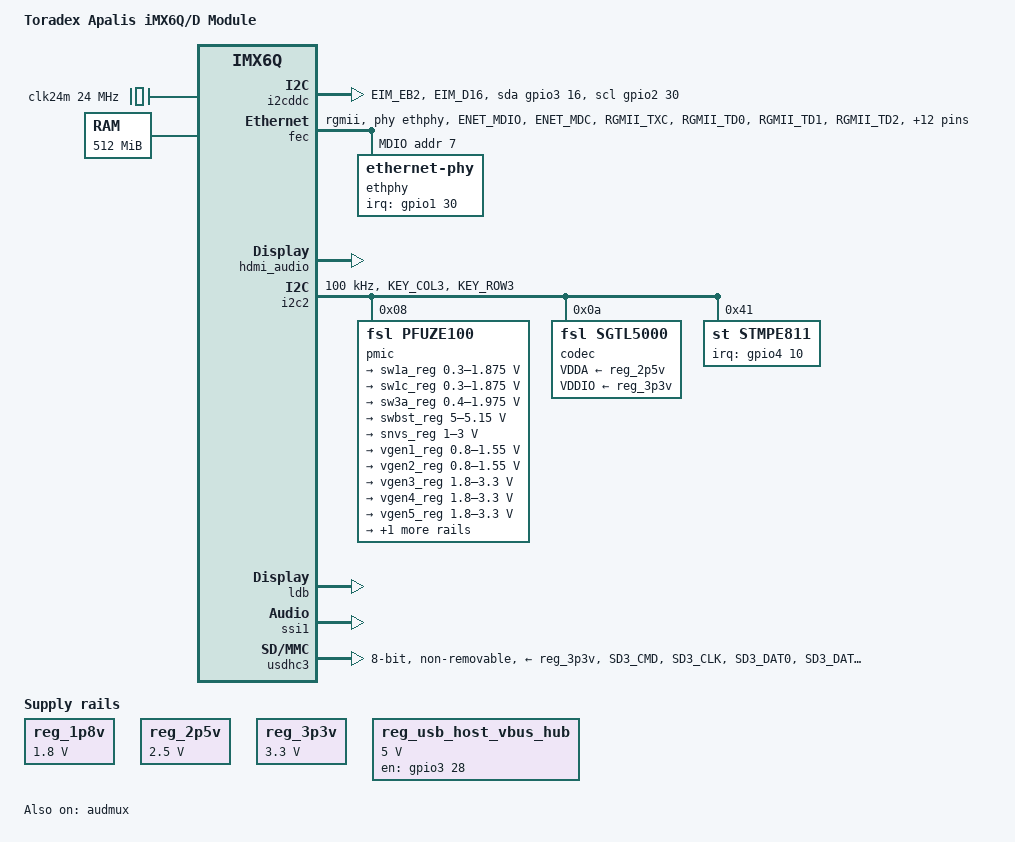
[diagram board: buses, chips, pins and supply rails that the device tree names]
/*
 * Copyright 2014-2016 Toradex AG
 * Copyright 2012 Freescale Semiconductor, Inc.
 * Copyright 2011 Linaro Ltd.
 *
 * The code contained herein is licensed under the GNU General Public
 * License. You may obtain a copy of the GNU General Public License
 * Version 2 or later at the following locations:
 *
 * http://www.opensource.org/licenses/gpl-license.html
 * http://www.gnu.org/copyleft/gpl.html
 */

/ {
	model = "Toradex Apalis iMX6Q/D Module";
	compatible = "toradex,apalis_imx6q", "fsl,imx6q";

	aliases {
		mxcfb0 = &mxcfb1;
		mxcfb1 = &mxcfb2;
		mxcfb2 = &mxcfb3;
		mxcfb3 = &mxcfb4;
	};

	backlight: backlight {
		compatible = "pwm-backlight";
		pwms = <&pwm4 0 5000000>;
		status = "disabled";
	};

	clocks {
		clk24m: clk24m {
			compatible = "fixed-clock";
			#clock-cells = <0>;
			clock-frequency = <24000000>;
		};
	};

/*
 * DDC_I2C: I2C2_SDA/SCL on MXM3 205/207
 */
	i2cddc: i2c@0 {
		compatible = "i2c-gpio";
		pinctrl-names = "default";
		pinctrl-0 = <&pinctrl_i2c_ddc>;
		gpios = <&gpio3 16 0 /* sda */
			 &gpio2 30 0 /* scl */
			>;
		i2c-gpio,delay-us = <2>;	/* ~100 kHz */
		#address-cells = <1>;
		#size-cells = <0>;
		status = "okay";
	};

	lcd: lcd@0 {
		compatible = "fsl,lcd";
		ipu_id = <0>;
		disp_id = <1>;
		default_ifmt = "RGB24";
		pinctrl-names = "default";
		pinctrl-0 = <&pinctrl_ipu1_lcdif>;
		status = "disabled";
	};

	memory {
		/*
		 * Normally, this node is rewritten by U-Boot with the actual
		 * memory size. In case not, use a safe value of 512MiB.
		 */
		reg = <0x10000000 0x20000000>;
	};

#if 0
	mxcfb1: fb@0 {
		compatible = "fsl,mxc_sdc_fb";
		disp_dev = "mipi_dsi";
		interface_pix_fmt = "RGB666";
		mode_str ="LDB-XGA";
		default_bpp = <16>;
		int_clk = <0>;
		late_init = <0>;
		status = "disabled";
#else
	mxcfb1: fb@0 {
		compatible = "fsl,mxc_sdc_fb";
		disp_dev = "ldb";
		interface_pix_fmt = "RGB666";
		default_bpp = <16>;
		int_clk = <0>;
		late_init = <0>;
		status = "disabled";
#endif
	};

	mxcfb2: fb@1 {
		compatible = "fsl,mxc_sdc_fb";
		disp_dev = "hdmi";
		interface_pix_fmt = "RGB24";
		mode_str ="1920x1080M@60";
		default_bpp = <16>;
		int_clk = <0>;
		late_init = <0>;
		status = "disabled";
	};

	mxcfb3: fb@2 {
		compatible = "fsl,mxc_sdc_fb";
		disp_dev = "lcd";
		interface_pix_fmt = "RGB565";
		mode_str ="CLAA-WVGA";
		default_bpp = <16>;
		int_clk = <0>;
		late_init = <0>;
		status = "disabled";
	};

#if 0
	mxcfb4: fb@3 {
		compatible = "fsl,mxc_sdc_fb";
		disp_dev = "ldb";
		interface_pix_fmt = "RGB666";
		mode_str ="LDB-XGA";
		default_bpp = <16>;
		int_clk = <0>;
		late_init = <0>;
		status = "disabled";
	};
#else
	mxcfb4: fb@3 {
		compatible = "fsl,mxc_sdc_fb";
		disp_dev = "vdac";
		interface_pix_fmt = "RGB565";
		mode_str ="LDB-XGA";
		default_bpp = <16>;
		int_clk = <0>;
		late_init = <0>;
		status = "disabled";
	};
#endif

	regulators {
		compatible = "simple-bus";

		reg_1p8v: 1p8v {
			compatible = "regulator-fixed";
			regulator-name = "1P8V";
			regulator-min-microvolt = <1800000>;
			regulator-max-microvolt = <1800000>;
			regulator-always-on;
		};

		reg_2p5v: 2p5v {
			compatible = "regulator-fixed";
			regulator-name = "2P5V";
			regulator-min-microvolt = <2500000>;
			regulator-max-microvolt = <2500000>;
			regulator-always-on;
		};

		reg_3p3v: 3p3v {
			compatible = "regulator-fixed";
			regulator-name = "3P3V";
			regulator-min-microvolt = <3300000>;
			regulator-max-microvolt = <3300000>;
			regulator-always-on;
		};

		reg_usb_otg_vbus: usb_otg_vbus {
			compatible = "regulator-fixed";
			pinctrl-names = "default";
			pinctrl-0 = <&pinctrl_regulator_usbotg_pwr>;
			regulator-name = "usb_otg_vbus";
			regulator-min-microvolt = <5000000>;
			regulator-max-microvolt = <5000000>;
			gpio = <&gpio3 22 0>;
			enable-active-high;
			status = "disabled";
		};

		/* on module usb hub */
		reg_usb_host_vbus_hub: usb_host_vbus_hub {
			compatible = "regulator-fixed";
			pinctrl-names = "default";
			pinctrl-0 = <&pinctrl_regulator_usbhub_pwr>;
			regulator-name = "usb_host_vbus_hub";
			regulator-min-microvolt = <5000000>;
			regulator-max-microvolt = <5000000>;
			gpio = <&gpio3 28 0>;
			startup-delay-us = <2000>;
			enable-active-high;
			status = "okay";
		};

		reg_usb_host_vbus: usb_host_vbus {
			compatible = "regulator-fixed";
			pinctrl-names = "default";
			pinctrl-0 = <&pinctrl_regulator_usbh_pwr>;
			regulator-name = "usb_host_vbus";
			regulator-min-microvolt = <5000000>;
			regulator-max-microvolt = <5000000>;
			gpio =  <&gpio1 0 0>;
			enable-active-high;
			vin-supply = <&reg_usb_host_vbus_hub>;
			status = "disabled";
		};
	};

	sound {
		compatible = "fsl,imx6q-apalis-sgtl5000",
			     "fsl,imx-audio-sgtl5000";
		model = "imx6q-apalis-sgtl5000";
		cpu-dai = <&ssi1>;
		audio-codec = <&codec>;
		audio-routing =
			"LINE_IN", "Line In Jack",
			"MIC_IN", "Mic Jack",
			"Mic Jack", "Mic Bias",
			"Headphone Jack", "HP_OUT";
		mux-int-port = <1>;
		mux-ext-port = <4>;
	};

	sound_hdmi: sound-hdmi {
		compatible = "fsl,imx6q-audio-hdmi",
			     "fsl,imx-audio-hdmi";
		model = "imx-audio-hdmi";
		hdmi-controller = <&hdmi_audio>;
		status = "disabled";
	};

	sound_spdif: sound-spdif {
		compatible = "fsl,imx-audio-spdif";
		model = "imx-spdif";
		spdif-controller = <&spdif>;
		spdif-out;
		spdif-in;
		status = "disabled";
	};

	vdac: vdac@0 {
		compatible = "fsl,vdac";
		ipu_id = <1>;
		disp_id = <0>;
		default_ifmt = "RGB565";
		pinctrl-names = "default";
		pinctrl-0 = <&pinctrl_ipu2_vdac>;
		status = "disabled";
	};

	v4l2_out {
		compatible = "fsl,mxc_v4l2_output";
		status = "okay";
	};
};

&audmux {
	pinctrl-names = "default";
	pinctrl-0 = <&pinctrl_audmux &pinctrl_audmux_mclk>;
	status = "okay";
};

/* Apalis SPI1 */
&ecspi1 {
	fsl,spi-num-chipselects = <1>;
	cs-gpios = <&gpio5 25 0>;
	pinctrl-names = "default";
	pinctrl-0 = <&pinctrl_ecspi1 &pinctrl_spi_cs1>;
	status = "disabled";
};

/* Apalis SPI2 */
&ecspi2 {
	fsl,spi-num-chipselects = <1>;
	cs-gpios = <&gpio2 26 0>;
	pinctrl-names = "default";
	pinctrl-0 = <&pinctrl_ecspi2 &pinctrl_spi_cs2>;
	status = "disabled";
};

&fec {
	pinctrl-names = "default";
	pinctrl-0 = <&pinctrl_enet &pinctrl_enet_ctrl>;
	phy-mode = "rgmii";
	phy-handle = <&ethphy>;
	phy-reset-duration = <10>;
	phy-reset-gpios = <&gpio1 25 1>;
	status = "okay";

	mdio {
		#address-cells = <1>;
		#size-cells = <0>;

		ethphy: ethernet-phy@7 {
			interrupt-parent = <&gpio1>;
			interrupts = <30 IRQ_TYPE_LEVEL_LOW>;
			reg = <7>;
		};
	};
};

&can1 {
	pinctrl-names = "default";
	pinctrl-0 = <&pinctrl_flexcan1>;
	status = "disabled";
};

&can2 {
	pinctrl-names = "default";
	pinctrl-0 = <&pinctrl_flexcan2>;
	status = "disabled";
};

&hdmi_audio {
	status = "okay";
};

&hdmi_cec {
	pinctrl-names = "default";
	pinctrl-0 = <&pinctrl_hdmi_cec>;
	status = "disabled";
};

&hdmi_core {
	ipu_id = <0>;
	disp_id = <0>;
	status = "disabled";
};

&hdmi_video {
	fsl,phy_reg_vlev = <0x0294>;
	fsl,phy_reg_cksymtx = <0x800d>;
	status = "disabled";
};

/*
 * GEN1_I2C: I2C1_SDA/SCL on MXM3 209/211 (e.g. RTC on carrier
 * board)
 */
&i2c1 {
	clock-frequency = <100000>;
	pinctrl-names = "default";
	pinctrl-0 = <&pinctrl_i2c1>;
	status = "disabled";
};

&i2c2 {
	clock-frequency = <100000>;
	pinctrl-names = "default";
	pinctrl-0 = <&pinctrl_i2c2>;
	status = "okay";

	pmic: pfuze100@08 {
		compatible = "fsl,pfuze100";
		reg = <0x08>;

		regulators {
			sw1a_reg: sw1ab {
				regulator-min-microvolt = <300000>;
				regulator-max-microvolt = <1875000>;
				regulator-boot-on;
				regulator-always-on;
				regulator-ramp-delay = <6250>;
			};

			sw1c_reg: sw1c {
				regulator-min-microvolt = <300000>;
				regulator-max-microvolt = <1875000>;
				regulator-boot-on;
				regulator-always-on;
				regulator-ramp-delay = <6250>;
			};

			sw3a_reg: sw3a {
				regulator-min-microvolt = <400000>;
				regulator-max-microvolt = <1975000>;
				regulator-boot-on;
				regulator-always-on;
			};

			swbst_reg: swbst {
				regulator-min-microvolt = <5000000>;
				regulator-max-microvolt = <5150000>;
				regulator-boot-on;
				regulator-always-on;
			};

			snvs_reg: vsnvs {
				regulator-min-microvolt = <1000000>;
				regulator-max-microvolt = <3000000>;
				regulator-boot-on;
				regulator-always-on;
			};

			vref_reg: vrefddr {
				regulator-boot-on;
				regulator-always-on;
			};

			vgen1_reg: vgen1 {
				regulator-min-microvolt = <800000>;
				regulator-max-microvolt = <1550000>;
				regulator-boot-on;
				regulator-always-on;
			};

			vgen2_reg: vgen2 {
				regulator-min-microvolt = <800000>;
				regulator-max-microvolt = <1550000>;
				regulator-boot-on;
				regulator-always-on;
			};

			vgen3_reg: vgen3 {
				regulator-min-microvolt = <1800000>;
				regulator-max-microvolt = <3300000>;
				regulator-boot-on;
				regulator-always-on;
			};

			vgen4_reg: vgen4 {
				regulator-min-microvolt = <1800000>;
				regulator-max-microvolt = <3300000>;
				regulator-boot-on;
				regulator-always-on;
			};

			vgen5_reg: vgen5 {
				regulator-min-microvolt = <1800000>;
				regulator-max-microvolt = <3300000>;
				regulator-boot-on;
				regulator-always-on;
			};

			vgen6_reg: vgen6 {
				regulator-min-microvolt = <1800000>;
				regulator-max-microvolt = <3300000>;
				regulator-boot-on;
				regulator-always-on;
			};
		};
	};

	codec: sgtl5000@0a {
		compatible = "fsl,sgtl5000";
		reg = <0x0a>;
		clocks = <&clks 201>;
		VDDA-supply = <&reg_2p5v>;
		VDDIO-supply = <&reg_3p3v>;
	};

	/* STMPE811 touch screen controller */
	stmpe811@41 {
		compatible = "st,stmpe811";
		pinctrl-names = "default";
		pinctrl-0 = <&pinctrl_touch_int>;
		#address-cells = <1>;
		#size-cells = <0>;
		reg = <0x41>;
		interrupts = <10 IRQ_TYPE_LEVEL_LOW>;
		interrupt-parent = <&gpio4>;
		interrupt-controller;
		id = <0>;
		blocks = <0x5>;
		irq-trigger = <0x1>;
		stmpe_touchscreen {
			compatible = "st,stmpe-ts";
			reg = <0>;
			/* 3.25 MHz ADC clock speed */
			st,adc-freq = <1>;
			/* 8 sample average control */
			st,ave-ctrl = <3>;
			/* 7 length fractional part in z */
			st,fraction-z = <7>;
			/*
			 * 50 mA typical 80 mA max touchscreen drivers
			 * current limit value
			 */
			st,i-drive = <1>;
			/* 12-bit ADC */
			st,mod-12b = <1>;
			/* internal ADC reference */
			st,ref-sel = <0>;
			/* ADC converstion time: 80 clocks */
			st,sample-time = <4>;
			/* 1 ms panel driver settling time */
			st,settling = <3>;
			/* 5 ms touch detect interrupt delay */
			st,touch-det-delay = <5>;
		};
		stmpe_adc {
			compatible = "st,stmpe-adc";
			/* 3.25 MHz ADC clock speed */
			st,adc-freq = <1>;
			/* 12-bit ADC */
			st,mod-12b = <1>;
			/* internal ADC reference */
			st,ref-sel = <0>;
			/* ADC converstion time: 80 clocks */
			st,sample-time = <4>;
		};
	};
};

/*
 * GEN2_I2C, CAM: I2C3_SDA/SCL on MXM3 201/203 (unused)
 */
&i2c3 {
	clock-frequency = <100000>;
	pinctrl-names = "default", "recovery";
	pinctrl-0 = <&pinctrl_i2c3>;
	pinctrl-1 = <&pinctrl_i2c3_recovery>;
	gpios = <&gpio3 18 0 /* sda */
	         &gpio3 17 0 /* scl */
	        >;
	status = "disabled";
};

/* PAD Ctrl Values for Common Settings */
#define PAD_CTRL_HYS_PU 0x1b0b0 /*(PAD_CTL_HYS | PAD_CTL_PUS_100K_UP | PAD_CTL_PUE | PAD_CTL_PKE | PAD_CTL_SPEED_MED | PAD_CTL_DSE_40ohm)*/
#define PAD_CTRL_HYS_PD 0x130b0 /*(PAD_CTL_HYS | PAD_CTL_PUE | PAD_CTL_PKE | PAD_CTL_SPEED_MED | PAD_CTL_DSE_40ohm)*/
#define PAD_CTRL_PU_22k 0x0f058 /*(PAD_CTL_PUS_22K_UP | PAD_CTL_PUE | PAD_CTL_PKE | PAD_CTL_SPEED_LOW | PAD_CTL_DSE_80ohm)*/
#define PAD_CTRL_NO 0x80000000

&iomuxc {
	ecspi {
		pinctrl_ecspi1: ecspi1grp {
			fsl,pins = <
				MX6QDL_PAD_CSI0_DAT6__ECSPI1_MISO 0x100b1
				MX6QDL_PAD_CSI0_DAT5__ECSPI1_MOSI 0x100b1
				MX6QDL_PAD_CSI0_DAT4__ECSPI1_SCLK 0x100b1
			>;
		};
		pinctrl_ecspi2: ecspi2grp {
			fsl,pins = <
				MX6QDL_PAD_EIM_OE__ECSPI2_MISO 0x100b1
				MX6QDL_PAD_EIM_CS1__ECSPI2_MOSI 0x100b1
				MX6QDL_PAD_EIM_CS0__ECSPI2_SCLK 0x100b1
			>;
		};
		pinctrl_spi_cs1: spi_cs1 {
			fsl,pins = <
				MX6QDL_PAD_CSI0_DAT7__GPIO5_IO25	PAD_CTRL_NO	/* SPI1 cs */
				>;
		};
		pinctrl_spi_cs2: spi_cs2 {
			fsl,pins = <
				MX6QDL_PAD_EIM_RW__GPIO2_IO26		PAD_CTRL_NO	/* SPI2 cs */
				>;
		};
	};

	flexcan {
		pinctrl_flexcan1: flexcan1grp {
			fsl,pins = <
				MX6QDL_PAD_GPIO_7__FLEXCAN1_TX   0x80000000
				MX6QDL_PAD_GPIO_8__FLEXCAN1_RX   0x80000000
			>;
		};
		pinctrl_flexcan2: flexcan2grp {
			fsl,pins = <
				MX6QDL_PAD_KEY_COL4__FLEXCAN2_TX 0x80000000
				MX6QDL_PAD_KEY_ROW4__FLEXCAN2_RX 0x80000000
			>;
		};
	};

	gpio {
		pinctrl_apalis_gpio1: apalis_gpio1 {
			fsl,pins = <
				/* Apalis GPIO */
				MX6QDL_PAD_NANDF_D4__GPIO2_IO04		PAD_CTRL_HYS_PD	/* Apalis GPIO1 */
			>;
		};
		pinctrl_apalis_gpio2: apalis_gpio2 {
			fsl,pins = <
				MX6QDL_PAD_NANDF_D5__GPIO2_IO05		PAD_CTRL_HYS_PD	/* Apalis GPIO2 */
			>;
		};
		pinctrl_apalis_gpio3: apalis_gpio3 {
			fsl,pins = <
				MX6QDL_PAD_NANDF_D6__GPIO2_IO06		PAD_CTRL_HYS_PD	/* Apalis GPIO3 */
			>;
		};
		pinctrl_apalis_gpio4: apalis_gpio4 {
			fsl,pins = <
				MX6QDL_PAD_NANDF_D7__GPIO2_IO07		PAD_CTRL_HYS_PD	/* Apalis GPIO4 */
			>;
		};
		pinctrl_apalis_gpio5: apalis_gpio5 {
			fsl,pins = <
				MX6QDL_PAD_NANDF_RB0__GPIO6_IO10	PAD_CTRL_HYS_PD	/* Apalis GPIO5 */
			>;
		};
		pinctrl_apalis_gpio6: apalis_gpio6 {
			fsl,pins = <
				MX6QDL_PAD_NANDF_WP_B__GPIO6_IO09	PAD_CTRL_HYS_PD	/* Apalis GPIO6 */
			>;
		};
		pinctrl_apalis_gpio7: apalis_gpio7 {
			fsl,pins = <
				MX6QDL_PAD_GPIO_2__GPIO1_IO02		PAD_CTRL_HYS_PD	/* Apalis GPIO7 */
			>;
		};
		pinctrl_apalis_gpio8: apalis_gpio8 {
			fsl,pins = <
				MX6QDL_PAD_GPIO_6__GPIO1_IO06		PAD_CTRL_HYS_PD	/* Apalis GPIO8 */
			>;
		};
		pinctrl_gpio_keys: gpio_keys {
			fsl,pins = <
				MX6QDL_PAD_GPIO_4__GPIO1_IO04		PAD_CTRL_HYS_PU	/* Power Button */
				>;
		};
	};

	hdmi {
		pinctrl_hdmi_cec: hdmicecgrp {
			fsl,pins = <
				MX6QDL_PAD_KEY_ROW2__HDMI_TX_CEC_LINE 0x1f8b0
			>;
		};
	};

	i2c {
		pinctrl_i2c_ddc: i2c_ddc {
			fsl,pins = <
				MX6QDL_PAD_EIM_EB2__GPIO2_IO30		PAD_CTRL_HYS_PU	/* DDC bitbang */
				MX6QDL_PAD_EIM_D16__GPIO3_IO16		PAD_CTRL_HYS_PU	/* DDC bitbang */
				>;
		};
		pinctrl_i2c1: i2c1grp {
			fsl,pins = <
				MX6QDL_PAD_CSI0_DAT8__I2C1_SDA 0x4001b8b1
				MX6QDL_PAD_CSI0_DAT9__I2C1_SCL 0x4001b8b1
			>;
		};
		pinctrl_i2c3: i2c3grp {
			fsl,pins = <
				MX6QDL_PAD_EIM_D17__I2C3_SCL 0x4001b8b1
				MX6QDL_PAD_EIM_D18__I2C3_SDA 0x4001b8b1
			>;
		};
		pinctrl_i2c3_recovery: i2c3-recoverygrp {
			fsl,pins = <
				MX6QDL_PAD_EIM_D17__GPIO3_IO17 0x4001b8b1
				MX6QDL_PAD_EIM_D18__GPIO3_IO18 0x4001b8b1
			>;
		};
	};

	/* pins used on module */
	imx6q-apalis {
		pinctrl-names = "default";
		pinctrl-0 = <&pinctrl_reset_moci &pinctrl_emmc_reset>;
		pinctrl_audmux: audmuxgrp {
			fsl,pins = <
				MX6QDL_PAD_DISP0_DAT20__AUD4_TXC  0x130b0
				MX6QDL_PAD_DISP0_DAT21__AUD4_TXD  0x130b0
				MX6QDL_PAD_DISP0_DAT22__AUD4_TXFS 0x130b0
				MX6QDL_PAD_DISP0_DAT23__AUD4_RXD  0x130b0
			>;
		};
		pinctrl_audmux_mclk: audmux_mclk {
			fsl,pins = <
				MX6QDL_PAD_GPIO_5__CCM_CLKO1		0x000b0		/* SGTL5000 sys_mclk */
			>;
		};
		pinctrl_emmc_reset: emmc_reset {
			fsl,pins = <
				MX6QDL_PAD_SD3_RST__GPIO7_IO08		PAD_CTRL_PU_22k	/* eMMC reset, leave it alone */
			>;
		};
		pinctrl_enet: enetgrp {
			fsl,pins = <
				MX6QDL_PAD_ENET_MDIO__ENET_MDIO       0x1b0b0
				MX6QDL_PAD_ENET_MDC__ENET_MDC         0x1b0b0
				MX6QDL_PAD_RGMII_TXC__RGMII_TXC       0x1b0b0
				MX6QDL_PAD_RGMII_TD0__RGMII_TD0       0x1b0b0
				MX6QDL_PAD_RGMII_TD1__RGMII_TD1       0x1b0b0
				MX6QDL_PAD_RGMII_TD2__RGMII_TD2       0x1b0b0
				MX6QDL_PAD_RGMII_TD3__RGMII_TD3       0x1b0b0
				MX6QDL_PAD_RGMII_TX_CTL__RGMII_TX_CTL 0x1b0b0
				MX6QDL_PAD_ENET_REF_CLK__ENET_TX_CLK  0x1b0b0
				MX6QDL_PAD_RGMII_RXC__RGMII_RXC       0x1b0b0
				MX6QDL_PAD_RGMII_RD0__RGMII_RD0       0x1b0b0
				MX6QDL_PAD_RGMII_RD1__RGMII_RD1       0x1b0b0
				MX6QDL_PAD_RGMII_RD2__RGMII_RD2       0x1b0b0
				MX6QDL_PAD_RGMII_RD3__RGMII_RD3       0x1b0b0
				MX6QDL_PAD_RGMII_RX_CTL__RGMII_RX_CTL 0x1b0b0
			>;
		};
		pinctrl_enet_ctrl: enet_ctrlgrp {
			fsl,pins = <
				MX6QDL_PAD_ENET_CRS_DV__GPIO1_IO25	PAD_CTRL_NO	/* ENET phy reset */
				MX6QDL_PAD_ENET_TXD0__GPIO1_IO30	PAD_CTRL_HYS_PU	/* ENET phy interrupt */
			>;
		};
		pinctrl_i2c2: i2c2grp {
			fsl,pins = <
				MX6QDL_PAD_KEY_COL3__I2C2_SCL 0x4001b8b1
				MX6QDL_PAD_KEY_ROW3__I2C2_SDA 0x4001b8b1
			>;
		};
		pinctrl_ipu2_vdac: ipu2vdacgrp {
			fsl,pins = <
				MX6QDL_PAD_DI0_DISP_CLK__IPU2_DI0_DISP_CLK 0xD1
				MX6QDL_PAD_DI0_PIN15__IPU2_DI0_PIN15       0xD1
				MX6QDL_PAD_DI0_PIN2__IPU2_DI0_PIN02        0xD1
				MX6QDL_PAD_DI0_PIN3__IPU2_DI0_PIN03        0xD1
				MX6QDL_PAD_DISP0_DAT0__IPU2_DISP0_DATA00   0xF9
				MX6QDL_PAD_DISP0_DAT1__IPU2_DISP0_DATA01   0xF9
				MX6QDL_PAD_DISP0_DAT2__IPU2_DISP0_DATA02   0xF9
				MX6QDL_PAD_DISP0_DAT3__IPU2_DISP0_DATA03   0xF9
				MX6QDL_PAD_DISP0_DAT4__IPU2_DISP0_DATA04   0xF9
				MX6QDL_PAD_DISP0_DAT5__IPU2_DISP0_DATA05   0xF9
				MX6QDL_PAD_DISP0_DAT6__IPU2_DISP0_DATA06   0xF9
				MX6QDL_PAD_DISP0_DAT7__IPU2_DISP0_DATA07   0xF9
				MX6QDL_PAD_DISP0_DAT8__IPU2_DISP0_DATA08   0xF9
				MX6QDL_PAD_DISP0_DAT9__IPU2_DISP0_DATA09   0xF9
				MX6QDL_PAD_DISP0_DAT10__IPU2_DISP0_DATA10  0xF9
				MX6QDL_PAD_DISP0_DAT11__IPU2_DISP0_DATA11  0xF9
				MX6QDL_PAD_DISP0_DAT12__IPU2_DISP0_DATA12  0xF9
				MX6QDL_PAD_DISP0_DAT13__IPU2_DISP0_DATA13  0xF9
				MX6QDL_PAD_DISP0_DAT14__IPU2_DISP0_DATA14  0xF9
				MX6QDL_PAD_DISP0_DAT15__IPU2_DISP0_DATA15  0xF9
			>;
		};
		pinctrl_regulator_usbhub_pwr: gpio_regulator_usbhub_pwr {
			fsl,pins = <
				MX6QDL_PAD_EIM_D28__GPIO3_IO28		PAD_CTRL_PU_22k	/* USBH_HUB_EN */
				>;
		};
		pinctrl_reset_moci: gpio_reset_moci {
			fsl,pins = <
				MX6QDL_PAD_ENET_TX_EN__GPIO1_IO28	PAD_CTRL_PU_22k	/* RESET_MOCI control */
				>;
		};
		pinctrl_touch_int: touch_intgrp {
			fsl,pins = <
				MX6QDL_PAD_KEY_COL2__GPIO4_IO10		PAD_CTRL_HYS_PU /* STMPE811 interrupt */
			>;
		};
		pinctrl_usdhc3: usdhc3grp {
			fsl,pins = <
				MX6QDL_PAD_SD3_CMD__SD3_CMD    0x17059
				MX6QDL_PAD_SD3_CLK__SD3_CLK    0x10059
				MX6QDL_PAD_SD3_DAT0__SD3_DATA0 0x17059
				MX6QDL_PAD_SD3_DAT1__SD3_DATA1 0x17059
				MX6QDL_PAD_SD3_DAT2__SD3_DATA2 0x17059
				MX6QDL_PAD_SD3_DAT3__SD3_DATA3 0x17059
				MX6QDL_PAD_SD3_DAT4__SD3_DATA4 0x17059
				MX6QDL_PAD_SD3_DAT5__SD3_DATA5 0x17059
				MX6QDL_PAD_SD3_DAT6__SD3_DATA6 0x17059
				MX6QDL_PAD_SD3_DAT7__SD3_DATA7 0x17059
			>;
		};
		pinctrl_usdhc3_100mhz: usdhc3grp-100mhz { /* 100Mhz */
			fsl,pins = <
				MX6QDL_PAD_SD3_CMD__SD3_CMD 0x170B9
				MX6QDL_PAD_SD3_CLK__SD3_CLK 0x100B9
				MX6QDL_PAD_SD3_DAT0__SD3_DATA0 0x170B9
				MX6QDL_PAD_SD3_DAT1__SD3_DATA1 0x170B9
				MX6QDL_PAD_SD3_DAT2__SD3_DATA2 0x170B9
				MX6QDL_PAD_SD3_DAT3__SD3_DATA3 0x170B9
				MX6QDL_PAD_SD3_DAT4__SD3_DATA4 0x170B9
				MX6QDL_PAD_SD3_DAT5__SD3_DATA5 0x170B9
				MX6QDL_PAD_SD3_DAT6__SD3_DATA6 0x170B9
				MX6QDL_PAD_SD3_DAT7__SD3_DATA7 0x170B9
			>;
		};
		pinctrl_usdhc3_200mhz: usdhc3grp-200mhz { /* 200Mhz */
			fsl,pins = <
				MX6QDL_PAD_SD3_CMD__SD3_CMD 0x170F9
				MX6QDL_PAD_SD3_CLK__SD3_CLK 0x100F9
				MX6QDL_PAD_SD3_DAT0__SD3_DATA0 0x170F9
				MX6QDL_PAD_SD3_DAT1__SD3_DATA1 0x170F9
				MX6QDL_PAD_SD3_DAT2__SD3_DATA2 0x170F9
				MX6QDL_PAD_SD3_DAT3__SD3_DATA3 0x170F9
				MX6QDL_PAD_SD3_DAT4__SD3_DATA4 0x170F9
				MX6QDL_PAD_SD3_DAT5__SD3_DATA5 0x170F9
				MX6QDL_PAD_SD3_DAT6__SD3_DATA6 0x170F9
				MX6QDL_PAD_SD3_DAT7__SD3_DATA7 0x170F9
			>;
		};
	};

	ipu1 {
		pinctrl_ipu1_lcdif: ipu1lcdifgrp {
			fsl,pins = <
				MX6QDL_PAD_EIM_A16__IPU1_DI1_DISP_CLK	0x61
				MX6QDL_PAD_EIM_DA10__IPU1_DI1_PIN15	0x61                /* DE */
				MX6QDL_PAD_EIM_DA11__IPU1_DI1_PIN02	0x61                /* HSync */
				MX6QDL_PAD_EIM_DA12__IPU1_DI1_PIN03	0x61                /* VSync */
				MX6QDL_PAD_EIM_DA9__IPU1_DISP1_DATA00	0x61
				MX6QDL_PAD_EIM_DA8__IPU1_DISP1_DATA01	0x61
				MX6QDL_PAD_EIM_DA7__IPU1_DISP1_DATA02	0x61
				MX6QDL_PAD_EIM_DA6__IPU1_DISP1_DATA03	0x61
				MX6QDL_PAD_EIM_DA5__IPU1_DISP1_DATA04	0x61
				MX6QDL_PAD_EIM_DA4__IPU1_DISP1_DATA05	0x61
				MX6QDL_PAD_EIM_DA3__IPU1_DISP1_DATA06	0x61
				MX6QDL_PAD_EIM_DA2__IPU1_DISP1_DATA07	0x61
				MX6QDL_PAD_EIM_DA1__IPU1_DISP1_DATA08	0x61
				MX6QDL_PAD_EIM_DA0__IPU1_DISP1_DATA09	0x61
				MX6QDL_PAD_EIM_EB1__IPU1_DISP1_DATA10	0x61
				MX6QDL_PAD_EIM_EB0__IPU1_DISP1_DATA11	0x61
				MX6QDL_PAD_EIM_A17__IPU1_DISP1_DATA12	0x61
				MX6QDL_PAD_EIM_A18__IPU1_DISP1_DATA13	0x61
				MX6QDL_PAD_EIM_A19__IPU1_DISP1_DATA14	0x61
				MX6QDL_PAD_EIM_A20__IPU1_DISP1_DATA15	0x61
				MX6QDL_PAD_EIM_A21__IPU1_DISP1_DATA16	0x61
				MX6QDL_PAD_EIM_A22__IPU1_DISP1_DATA17	0x61
				MX6QDL_PAD_EIM_A23__IPU1_DISP1_DATA18	0x61
				MX6QDL_PAD_EIM_A24__IPU1_DISP1_DATA19	0x61
				MX6QDL_PAD_EIM_D31__IPU1_DISP1_DATA20	0x61
				MX6QDL_PAD_EIM_D30__IPU1_DISP1_DATA21	0x61
				MX6QDL_PAD_EIM_D26__IPU1_DISP1_DATA22	0x61
				MX6QDL_PAD_EIM_D27__IPU1_DISP1_DATA23	0x61
			>;
		};
		pinctrl_cam_mclk: cam_mclk {
			fsl,pins = <
				MX6QDL_PAD_NANDF_CS2__CCM_CLKO2		0x00b0		/* CAM sys_mclk */
			>;
		};
		pinctrl_ipu1_csi0: ipu1csi0grp { /* parallel camera */
			fsl,pins = <
				MX6QDL_PAD_CSI0_DAT12__IPU1_CSI0_DATA12    0xb0b1
				MX6QDL_PAD_CSI0_DAT13__IPU1_CSI0_DATA13    0xb0b1
				MX6QDL_PAD_CSI0_DAT14__IPU1_CSI0_DATA14    0xb0b1
				MX6QDL_PAD_CSI0_DAT15__IPU1_CSI0_DATA15    0xb0b1
				MX6QDL_PAD_CSI0_DAT16__IPU1_CSI0_DATA16    0xb0b1
				MX6QDL_PAD_CSI0_DAT17__IPU1_CSI0_DATA17    0xb0b1
				MX6QDL_PAD_CSI0_DAT18__IPU1_CSI0_DATA18    0xb0b1
				MX6QDL_PAD_CSI0_DAT19__IPU1_CSI0_DATA19    0xb0b1
				MX6QDL_PAD_CSI0_PIXCLK__IPU1_CSI0_PIXCLK   0xb0b1
				MX6QDL_PAD_CSI0_MCLK__IPU1_CSI0_HSYNC      0xb0b1
				MX6QDL_PAD_CSI0_VSYNC__IPU1_CSI0_VSYNC     0xb0b1
			>;
		};
	};

	pwm {
		pinctrl_pwm1: pwm1grp {
			fsl,pins = <
				MX6QDL_PAD_GPIO_9__PWM1_OUT 0x1b0b1
			>;
		};
		pinctrl_pwm2: pwm2grp {
			fsl,pins = <
				MX6QDL_PAD_GPIO_1__PWM2_OUT 0x1b0b1
			>;
		};
		pinctrl_pwm3: pwm3grp {
			fsl,pins = <
				MX6QDL_PAD_SD4_DAT1__PWM3_OUT 0x1b0b1
			>;
		};
		pinctrl_pwm4: pwm4grp {
			fsl,pins = <
				MX6QDL_PAD_SD4_DAT2__PWM4_OUT 0x1b0b1
			>;
		};
	};

	spdif {
		pinctrl_spdif: spdifgrp {
			fsl,pins = <
				MX6QDL_PAD_GPIO_16__SPDIF_IN  0x1b0b0
				MX6QDL_PAD_GPIO_17__SPDIF_OUT 0x1b0b0
			>;
		};
	};

	uart1 {
		pinctrl_uart1_dce: uart1-dcegrp {
			fsl,pins = <
				MX6QDL_PAD_CSI0_DAT10__UART1_TX_DATA 0x1b0b1
				MX6QDL_PAD_CSI0_DAT11__UART1_RX_DATA 0x1b0b1
			>;
		};
		pinctrl_uart1_dte: uart1-dtegrp { /* DTE mode */
			fsl,pins = <
				MX6QDL_PAD_CSI0_DAT10__UART1_RX_DATA 0x1b0b1
				MX6QDL_PAD_CSI0_DAT11__UART1_TX_DATA 0x1b0b1
				MX6QDL_PAD_EIM_D19__UART1_RTS_B 0x1b0b1
				MX6QDL_PAD_EIM_D20__UART1_CTS_B 0x1b0b1
			>;
		};
		pinctrl_uart1_ctrl: uart1-ctrlgrp { /* Additional DTR, DSR, DCD */
			fsl,pins = <
				MX6QDL_PAD_EIM_D23__UART1_DCD_B 0x1b0b0
				MX6QDL_PAD_EIM_D24__UART1_DTR_B 0x1b0b0
				MX6QDL_PAD_EIM_D25__UART1_DSR_B 0x1b0b0
			>;
		};
	};

	uart2 {
		pinctrl_uart2_dce: uart2-dcegrp {
			fsl,pins = <
				MX6QDL_PAD_SD4_DAT4__UART2_RX_DATA   0x1b0b1
				MX6QDL_PAD_SD4_DAT7__UART2_TX_DATA   0x1b0b1
			>;
		};
		pinctrl_uart2_dte: uart2grp-dte { /* DTE mode */
			fsl,pins = <
				MX6QDL_PAD_SD4_DAT4__UART2_TX_DATA   0x1b0b1
				MX6QDL_PAD_SD4_DAT7__UART2_RX_DATA   0x1b0b1
				MX6QDL_PAD_SD4_DAT6__UART2_RTS_B 0x1b0b1
				MX6QDL_PAD_SD4_DAT5__UART2_CTS_B 0x1b0b1
			>;
		};
	};

	uart4 {
		pinctrl_uart4_dce: uart4-dcegrp {
			fsl,pins = <
				MX6QDL_PAD_KEY_COL0__UART4_TX_DATA 0x1b0b1
				MX6QDL_PAD_KEY_ROW0__UART4_RX_DATA 0x1b0b1
			>;
		};
		pinctrl_uart4_dte: uart4-dtegrp { /* DTE mode */
			fsl,pins = <
				MX6QDL_PAD_KEY_COL0__UART4_RX_DATA 0x1b0b1
				MX6QDL_PAD_KEY_ROW0__UART4_TX_DATA 0x1b0b1
			>;
		};
	};

	uart5 {
		pinctrl_uart5_dce: uart5-dcegrp {
			fsl,pins = <
				MX6QDL_PAD_KEY_COL1__UART5_TX_DATA 0x1b0b1
				MX6QDL_PAD_KEY_ROW1__UART5_RX_DATA 0x1b0b1
			>;
		};
		pinctrl_uart5_dte: uart5-dtegrp { /* DTE mode */
			fsl,pins = <
				MX6QDL_PAD_KEY_COL1__UART5_RX_DATA 0x1b0b1
				MX6QDL_PAD_KEY_ROW1__UART5_TX_DATA 0x1b0b1
			>;
		};
	};

	usbh {
		pinctrl_regulator_usbh_pwr: gpio_regulator_usbh_pwr {
			fsl,pins = <
				MX6QDL_PAD_GPIO_0__GPIO1_IO00		PAD_CTRL_PU_22k	/* USBH_EN */
				>;
		};
	};

	usbotg {
		pinctrl_usbotg: usbotggrp {
			fsl,pins = <
				MX6QDL_PAD_ENET_RX_ER__USB_OTG_ID 0x17059
			>;
		};
		pinctrl_regulator_usbotg_pwr: gpio_regulator_usbotg_pwr {
			fsl,pins = <
				MX6QDL_PAD_EIM_D22__GPIO3_IO22		PAD_CTRL_PU_22k	/* USBO power en */
				>;
		};
	};

	usdhc {
		pinctrl_mmc_cd: gpio_mmc_cd {
			fsl,pins = <
				MX6QDL_PAD_DI0_PIN4__GPIO4_IO20		PAD_CTRL_NO	/* MMC1 CD */
				>;
		};
		pinctrl_sd_cd: gpio_sd_cd {
			fsl,pins = <
				MX6QDL_PAD_NANDF_CS1__GPIO6_IO14	PAD_CTRL_NO	/* SD1 CD */
				>;
		};
		pinctrl_usdhc1: usdhc1grp {
			fsl,pins = <
				MX6QDL_PAD_SD1_CMD__SD1_CMD    0x17071
				MX6QDL_PAD_SD1_CLK__SD1_CLK    0x10071
				MX6QDL_PAD_SD1_DAT0__SD1_DATA0 0x17071
				MX6QDL_PAD_SD1_DAT1__SD1_DATA1 0x17071
				MX6QDL_PAD_SD1_DAT2__SD1_DATA2 0x17071
				MX6QDL_PAD_SD1_DAT3__SD1_DATA3 0x17071
				MX6QDL_PAD_NANDF_D0__SD1_DATA4 0x17071
				MX6QDL_PAD_NANDF_D1__SD1_DATA5 0x17071
				MX6QDL_PAD_NANDF_D2__SD1_DATA6 0x17071
				MX6QDL_PAD_NANDF_D3__SD1_DATA7 0x17071
			>;
		};
		pinctrl_usdhc2: usdhc2grp {
			fsl,pins = <
				MX6QDL_PAD_SD2_CMD__SD2_CMD    0x17071
				MX6QDL_PAD_SD2_CLK__SD2_CLK    0x10071
				MX6QDL_PAD_SD2_DAT0__SD2_DATA0 0x17071
				MX6QDL_PAD_SD2_DAT1__SD2_DATA1 0x17071
				MX6QDL_PAD_SD2_DAT2__SD2_DATA2 0x17071
				MX6QDL_PAD_SD2_DAT3__SD2_DATA3 0x17071
			>;
		};
	};
};

&ldb {
	status = "okay";
//	split-mode;
//	dual-mode;

	lvds-channel@0 {
		reg = <0>;
		fsl,data-mapping = "spwg"; /* "jeida"; */
		fsl,data-width = <18>;
		crtc = "ipu2-di1";
		primary;
		status = "okay";

		display-timings {
			native-mode = <&timing_xga>;
			/* LDB-AM-800600LTNQW-A0H */
			timing_svga: 800x600 {
				clock-frequency = <55000000>;
				hactive = <800>;
				vactive = <600>;
				hback-porch = <112>;
				hfront-porch = <32>;
				vback-porch = <3>;
				vfront-porch = <17>;
				hsync-len = <80>;
				vsync-len = <4>;
				hsync-active = <0>;
				vsync-active = <0>;
				pixelclk-active = <0>;
			};
			/* Standard XGA timing */
			timing_xga: 1024x768 {
				clock-frequency = <65000000>;
				hactive = <1024>;
				vactive = <768>;
				hback-porch = <160>;
				hfront-porch = <24>;
				vback-porch = <29>;
				vfront-porch = <3>;
				hsync-len = <136>;
				vsync-len = <6>;
				hsync-active = <0>;
				vsync-active = <0>;
				pixelclk-active = <0>;
			};
			timing_wxga: 1280x800 {
				clock-frequency = <68930000>;
				hactive = <1280>;
				vactive = <800>;
				hback-porch = <64>;
				hfront-porch = <64>;
				vback-porch = <5>;
				vfront-porch = <5>;
				hsync-len = <40>;
				vsync-len = <6>;
				hsync-active = <0>;
				vsync-active = <0>;
				pixelclk-active = <0>;
			};
			timing_fullhd: 1920x1080 {
				clock-frequency = <138500000>;
				hactive = <1920>;
				vactive = <1080>;
				hback-porch = <80>;
				hfront-porch = <48>;
				vback-porch = <23>;
				vfront-porch = <3>;
				hsync-len = <32>;
				vsync-len = <5>;
				hsync-active = <0>;
				vsync-active = <0>;
				pixelclk-active = <0>;
			};
		};
	};

	lvds-channel@1 {
		reg = <1>;
		fsl,data-mapping = "spwg";
		fsl,data-width = <18>;
		crtc = "ipu1-di0";
		status = "okay";

		display-timings {
/*			native-mode = <&timing_svga_ch2>;*/
			/* LDB-AM-800600LTNQW-A0H */
			timing_svga_ch2: 800x600 {
				clock-frequency = <55000000>;
				hactive = <800>;
				vactive = <600>;
				hback-porch = <112>;
				hfront-porch = <32>;
				vback-porch = <3>;
				vfront-porch = <17>;
				hsync-len = <80>;
				vsync-len = <4>;
				hsync-active = <0>;
				vsync-active = <0>;
				pixelclk-active = <0>;
			};
		};
	};
};

&pwm1 {
	pinctrl-names = "default";
	pinctrl-0 = <&pinctrl_pwm1>;
	status = "disabled";
};

&pwm2 {
	pinctrl-names = "default";
	pinctrl-0 = <&pinctrl_pwm2>;
	status = "disabled";
};

&pwm3 {
	pinctrl-names = "default";
	pinctrl-0 = <&pinctrl_pwm3>;
	status = "disabled";
};

&pwm4 {
	pinctrl-names = "default";
	pinctrl-0 = <&pinctrl_pwm4>;
	status = "disabled";
};

&spdif {
	pinctrl-names = "default";
	pinctrl-0 = <&pinctrl_spdif>;
	status = "disabled";
};

&ssi1 {
	fsl,mode = "i2s-slave";
	status = "okay";
};

&uart1 {
	pinctrl-names = "default";
#ifndef USE_UART_IN_DCE_MODE
	pinctrl-0 = <&pinctrl_uart1_dte &pinctrl_uart1_ctrl>;
	fsl,dte-mode;
	fsl,uart-has-rtscts;
#else
	pinctrl-0 = <&pinctrl_uart1_dce>;
#endif
	status = "disabled";
};

&uart2 {
	pinctrl-names = "default";
#ifndef USE_UART_IN_DCE_MODE
	pinctrl-0 = <&pinctrl_uart2_dte>;
	fsl,dte-mode;
	fsl,uart-has-rtscts;
#else
	pinctrl-0 = <&pinctrl_uart2_dce>;
#endif
	status = "disabled";
};

&uart4 {
	pinctrl-names = "default";
#ifndef USE_UART_IN_DCE_MODE
	pinctrl-0 = <&pinctrl_uart4_dte>;
	fsl,dte-mode;
#else
	pinctrl-0 = <&pinctrl_uart4_dce>;
#endif
	status = "disabled";
};

&uart5 {
	pinctrl-names = "default";
#ifndef USE_UART_IN_DCE_MODE
	pinctrl-0 = <&pinctrl_uart5_dte>;
	fsl,dte-mode;
#else
	pinctrl-0 = <&pinctrl_uart5_dce>;
#endif
	status = "disabled";
};

&usbh1 {
	vbus-supply = <&reg_usb_host_vbus>;
	status = "disabled";
};

&usbotg {
	vbus-supply = <&reg_usb_otg_vbus>;
	pinctrl-names = "default";
	pinctrl-0 = <&pinctrl_usbotg>;
	disable-over-current;
	status = "disabled";
};

/* MMC1 */
&usdhc1 {
	label = "MMC1";
	pinctrl-names = "default";
	pinctrl-0 = <&pinctrl_usdhc1 &pinctrl_mmc_cd>;
	cd-gpios = <&gpio4 20 0>;
	vmmc-supply = <&reg_3p3v>;
	bus-width = <8>;
	no-1-8-v;
	status = "disabled";
};

/* SD1 */
&usdhc2 {
	label = "SD1";
	pinctrl-names = "default";
	pinctrl-0 = <&pinctrl_usdhc2 &pinctrl_sd_cd>;
	cd-gpios = <&gpio6 14 0>;
	vmmc-supply = <&reg_3p3v>;
	bus-width = <4>;
	no-1-8-v;
	status = "disabled";
};

/* eMMC */
&usdhc3 {
	pinctrl-names = "default";
	pinctrl-0 = <&pinctrl_usdhc3>;
	vmmc-supply = <&reg_3p3v>;
	bus-width = <8>;
	no-1-8-v;
	non-removable;
	status = "okay";
};

&weim {
        status = "disabled"; /* weim signals not accessible on i.MX6 */
};
